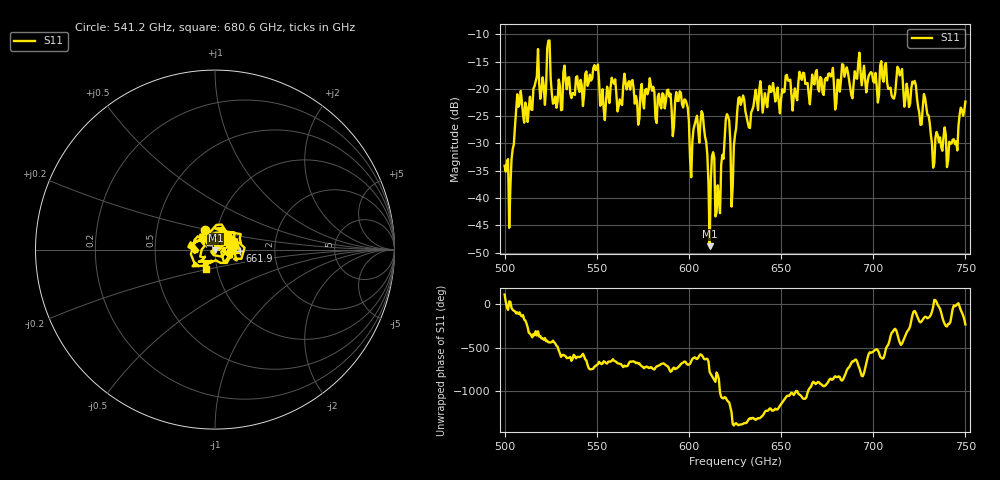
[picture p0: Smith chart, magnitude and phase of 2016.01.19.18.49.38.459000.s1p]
!Created with skrf (http://scikit-rf.org).
# GHz S RI R 50.0
!freq ReS11 ImS11
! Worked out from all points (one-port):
!   401 points, 500 GHz to 750 GHz, reference 50 ohm
!   lowest |S11| = -48.8 dB at 611.2 GHz (marker M1), VSWR 1.01, Z = 50.2 - j0.313 ohm
!   |S11| at or under -10 dB: start of sweep to end of sweep
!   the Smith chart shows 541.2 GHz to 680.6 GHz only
!   S11 on the Smith chart (normalised r, x): 541.2 GHz: 0.88, +0.19; 661.9 GHz: 1.33, -0.02; 680.6 GHz: 0.88, -0.19
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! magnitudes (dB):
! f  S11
! 500 GHz  -34.1
! 503.8 GHz  -32.9
! 507.5 GHz  -23.3
! 523.8 GHz  -11.2
! 526.9 GHz  -22.5
! 531.2 GHz  -23.8
! 541.2 GHz  -18.3
! 549.4 GHz  -16.6
! 553.1 GHz  -20.1
! 562.5 GHz  -21.9
! 593.8 GHz  -22.2
! 601.2 GHz  -36.2
! 607.5 GHz  -24.6
! 611.2 GHz  -48.8
! 615.6 GHz  -37.7
! 620.6 GHz  -24.6
! 623.1 GHz  -41.6
! 625 GHz  -28.4
! 628.1 GHz  -22.9
! 656.2 GHz  -24.0
! 661.9 GHz  -17.0
! 680.6 GHz  -18.3
! 687.5 GHz  -19.7
! 714.4 GHz  -17.5
! 718.8 GHz  -20.3
! 728.8 GHz  -23.1
! 732.5 GHz  -34.4
! 750 GHz  -22.3
